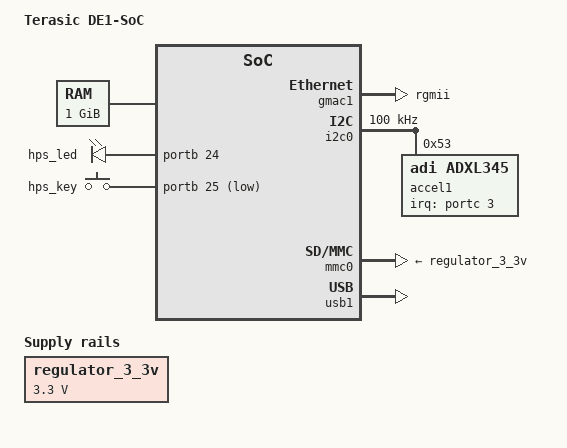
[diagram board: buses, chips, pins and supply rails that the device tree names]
// SPDX-License-Identifier: GPL-2.0+
/*
 * Copyright (C) 2013 Steffen Trumtrar <s.trumtrar@pengutronix.de>
 */

#include "socfpga_cyclone5.dtsi"

/ {
	model = "Terasic DE1-SoC";
	compatible = "terasic,socfpga-cyclone5-sockit", "altr,socfpga-cyclone5", "altr,socfpga";

	chosen {
		bootargs = "earlyprintk";
		stdout-path = "serial0:115200n8";
	};

	memory@0 {
		name = "memory";
		device_type = "memory";
		reg = <0x0 0x40000000>; /* 1GB */
	};

	aliases {
		/* this allow the ethaddr uboot environmnet variable contents
		 * to be added to the gmac1 device tree blob.
		 */
		ethernet0 = &gmac1;
	};

	leds {
		compatible = "gpio-leds";

		hps_led {
			label = "hps_led";
			gpios = <&portb 24 0>;	/* HPS_GPIO53 */
			linux,default-trigger = "heartbeat";
		};

	};

	gpio-keys {
		compatible = "gpio-keys";

		hps_hkey {
			label = "hps_key";
			gpios = <&portb 25 1>;	/* HPS_GPI54 */
			linux,code = <16>;	/* KEY_Q */
		};

	};

	regulator_3_3v: regulator {
		compatible = "regulator-fixed";
		regulator-name = "VCC3P3";
		regulator-min-microvolt = <3300000>;
		regulator-max-microvolt = <3300000>;
	};
};

&gmac1 {
	status = "okay";
	phy-mode = "rgmii";

	rxd0-skew-ps = <0>;
	rxd1-skew-ps = <0>;
	rxd2-skew-ps = <0>;
	rxd3-skew-ps = <0>;
	txen-skew-ps = <0>;
	txc-skew-ps = <2600>;
	rxdv-skew-ps = <0>;
	rxc-skew-ps = <2000>;
};

&gpio0 {	/* GPIO 0..29 */
	status = "okay";
};

&gpio1 {	/* GPIO 30..57 */
	status = "okay";
};

&gpio2 {	/* GPIO 58..66 (HLGPI 0..13 at offset 13) */
	status = "okay";
};

&i2c0 {
	status = "okay";
	clock-frequency = <100000>;

	accel1: accelerometer@53 {
		compatible = "adi,adxl345";
		reg = <0x53>;

		interrupt-parent = <&portc>;
		interrupts = <3 2>;
	};
};

&mmc0 {
	vmmc-supply = <&regulator_3_3v>;
	vqmmc-supply = <&regulator_3_3v>;
	status = "okay";
};


&usb1 {
	status = "okay";
};
